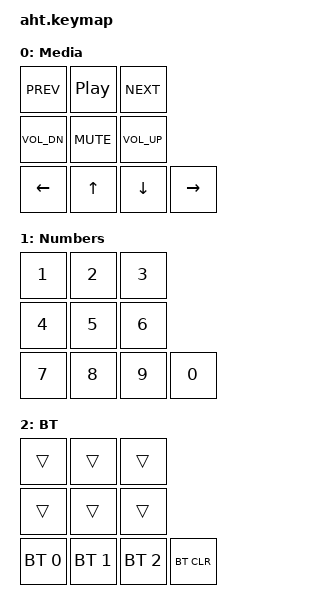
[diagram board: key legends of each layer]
#include <behaviors.dtsi>
#include <dt-bindings/zmk/bt.h>
#include <dt-bindings/zmk/keys.h>

/ {
    combos {
        compatible = "zmk,combos";

        to_media_base {
            bindings = <&to 0>;
            key-positions = <0 1 2>;
            timeout-ms = <100>;
        };

        to_numbers {
            bindings = <&to 1>;
            key-positions = <3 4 5>;
            timeout-ms = <100>;
        };

        to_bt {
            bindings = <&to 2>;
            key-positions = <6 7 8>;
            timeout-ms = <100>;
        };

        studio {
            bindings = <&studio_unlock>;
            key-positions = <0 1>;
            timeout-ms = <150>;
        };

        bootloader {
            bindings = <&bootloader>;
            key-positions = <8 9>;
            timeout-ms = <300>;
        };
    };

    keymap {
        compatible = "zmk,keymap";

        media_layer {
            bindings = <
&kp C_PREV  &kp C_PLAY_PAUSE  &kp C_NEXT
&kp C_VOL_DN  &kp C_MUTE  &kp C_VOL_UP
&kp LEFT    &kp UP            &kp DOWN    &kp RIGHT
            >;

            label = "Media";
        };

        numbers_layer {
            bindings = <
&kp N1  &kp N2  &kp N3
&kp N4  &kp N5  &kp N6
&kp N7  &kp N8  &kp N9  &kp N0
            >;

            label = "Numbers";
        };

        bt_layer {
            bindings = <
&trans        &trans        &trans
&trans        &trans        &trans
&bt BT_SEL 0  &bt BT_SEL 1  &bt BT_SEL 2  &bt BT_CLR
            >;

            label = "BT";
        };
    };
};
